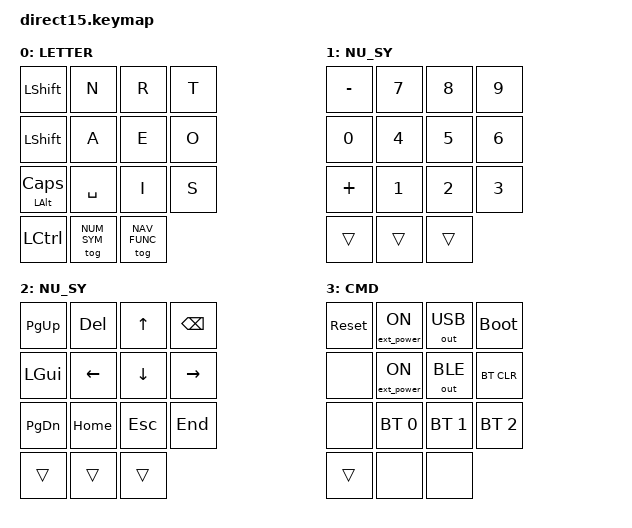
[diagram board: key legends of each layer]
#include <behaviors.dtsi>
#include <dt-bindings/zmk/keys.h>
#include <dt-bindings/zmk/bt.h>
#include <dt-bindings/zmk/outputs.h>
#include <dt-bindings/zmk/ext_power.h>

#define DEFAULT  0
#define NUM_SYM  1
#define NAV_FUNC 2
#define COMMAND  3


/ {
    keymap {
        compatible = "zmk,keymap";

        default_layer {
          display-name = "LETTER";
          bindings = <
              &kp LSHIFT        &kp N       &kp R         &kp T
              &kp LSHIFT        &kp A       &kp E         &kp O
              &mt LALT CAPSLOCK &kp SPACE   &kp I         &kp S

              &kp LCTRL  &tog NUM_SYM  &tog NAV_FUNC
          >;
        };

        numbers_and_symbols_layer {
          display-name = "NU_SY";
          bindings = <
              &kp MINUS  &kp N7      &kp N8        &kp N9
              &kp N0     &kp N4      &kp N5        &kp N6
              &kp PLUS   &kp N1      &kp N2        &kp N3

              &trans &trans &trans
          >;
        };

        navigation_and_functions_layer {
          display-name = "NU_SY";
          bindings = <
              &kp PG_UP  &kp DEL     &kp UP      &kp BACKSPACE
              &kp LGUI   &kp LEFT    &kp DOWN    &kp RIGHT
              &kp PG_DN  &kp HOME    &kp ESC     &kp END

              &trans &trans &trans
          >;
        };

        func {
          display-name = "CMD";
          bindings = <
            &sys_reset      &ext_power EP_ON   &out OUT_USB    &bootloader
            &none           &ext_power EP_ON   &out OUT_BLE    &bt BT_CLR
            &none           &bt BT_SEL 0       &bt BT_SEL 1    &bt BT_SEL 2

            &trans          &none           &none
          >;
        };
    };

    conditional_layers {
      compatible = "zmk,conditional-layers";
      tri_layer {
            if-layers = < NUM_SYM NAV_FUNC >;
            then-layer = < COMMAND >;
        };
    };

};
